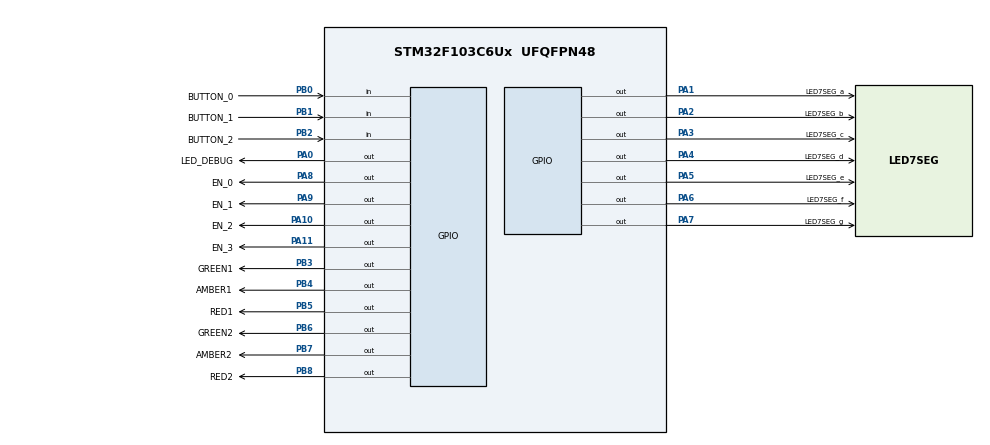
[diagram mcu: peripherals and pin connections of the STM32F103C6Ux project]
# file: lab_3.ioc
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Mcu.Family=STM32F1
Mcu.Name=STM32F103C6Ux
Mcu.Package=UFQFPN48
NVIC.PriorityGroup=NVIC_PRIORITYGROUP_4
NVIC.TIM2_IRQn=true\:0\:0\:false\:false\:true\:true\:true\:true
PA0-WKUP.GPIO_Label=LED_DEBUG
PA0-WKUP.Signal=GPIO_Output
PA1.GPIO_Label=LED7SEG_a
PA1.Signal=GPIO_Output
PA10.GPIO_Label=EN_2
PA10.Signal=GPIO_Output
PA11.GPIO_Label=EN_3
PA11.Signal=GPIO_Output
PA2.GPIO_Label=LED7SEG_b
PA2.Signal=GPIO_Output
PA3.GPIO_Label=LED7SEG_c
PA3.Signal=GPIO_Output
PA4.GPIO_Label=LED7SEG_d
PA4.Signal=GPIO_Output
PA5.GPIO_Label=LED7SEG_e
PA5.Signal=GPIO_Output
PA6.GPIO_Label=LED7SEG_f
PA6.Signal=GPIO_Output
PA7.GPIO_Label=LED7SEG_g
PA7.Signal=GPIO_Output
PA8.GPIO_Label=EN_0
PA8.Signal=GPIO_Output
PA9.GPIO_Label=EN_1
PA9.Signal=GPIO_Output
PB0.GPIO_Label=BUTTON_0
PB0.Signal=GPIO_Input
PB1.GPIO_Label=BUTTON_1
PB1.Signal=GPIO_Input
PB2.GPIO_Label=BUTTON_2
PB2.Signal=GPIO_Input
PB3.GPIO_Label=GREEN1
PB3.Signal=GPIO_Output
PB4.GPIO_Label=AMBER1
PB4.Signal=GPIO_Output
PB5.GPIO_Label=RED1
PB5.Signal=GPIO_Output
PB6.GPIO_Label=GREEN2
PB6.Signal=GPIO_Output
PB7.GPIO_Label=AMBER2
PB7.Signal=GPIO_Output
PB8.GPIO_Label=RED2
PB8.Signal=GPIO_Output
ProjectManager.HeapSize=0x200
ProjectManager.StackSize=0x400
ProjectManager.TargetToolchain=STM32CubeIDE
RCC.APB1Freq_Value=8000000
RCC.APB2Freq_Value=8000000
TIM2.Period=9
TIM2.Prescaler=7999
VP_SYS_VS_ND.Mode=No_Debug
VP_TIM2_VS_ClockSourceINT.Mode=Internal
board=custom

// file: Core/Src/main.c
/* USER CODE BEGIN Header */
/**
 ******************************************************************************
 * @file           : main.c
 * @brief          : Main program body
 ******************************************************************************
 * @attention
 *
 * Copyright (c) 2025 STMicroelectronics.
 * All rights reserved.
 *
 * This software is licensed under terms that can be found in the LICENSE file
 * in the root directory of this software component.
 * If no LICENSE file comes with this software, it is provided AS-IS.
 *
 ******************************************************************************
 */
/* USER CODE END Header */
#include "main.h"
#include "tim.h"
#include "gpio.h"

/* USER CODE BEGIN Includes */
#include "test.h"
#include "global.h"
#include "software_timer.h"
#include "button.h"
#include "led7seg.h"
#include "app.h"
/* USER CODE END Includes */

void SystemClock_Config(void);
/* USER CODE BEGIN PFP */
void system_init();
/* USER CODE END PFP */

int main(void)
{

	/* MCU Configuration--------------------------------------------------------*/

	/* Reset of all peripherals, Initializes the Flash interface and the Systick. */
	HAL_Init();

	/* Configure the system clock */
	SystemClock_Config();

	/* Initialize all configured peripherals */
	MX_GPIO_Init();
	MX_TIM2_Init();
	/* USER CODE BEGIN 2 */
	system_init();
	app_Set_timer();
	HAL_GPIO_WritePin(LED_DEBUG_GPIO_Port, LED_DEBUG_Pin, 1);
	/* USER CODE END 2 */

	/* Infinite loop */
	/* USER CODE BEGIN WHILE */
	while (1)
	{
		if (timer_flag) {
			timer_flag = 0;
			timer_run();
			button_scan();
			led7seg_scan();
		}

		app_Select_mode();
		/* USER CODE END WHILE */

	}
}

void SystemClock_Config(void)
{
	RCC_OscInitTypeDef RCC_OscInitStruct = {0};
	RCC_ClkInitTypeDef RCC_ClkInitStruct = {0};

	/** Initializes the RCC Oscillators according to the specified parameters
	 * in the RCC_OscInitTypeDef structure.
	 */
	RCC_OscInitStruct.OscillatorType = RCC_OSCILLATORTYPE_HSI;
	RCC_OscInitStruct.HSIState = RCC_HSI_ON;
	RCC_OscInitStruct.HSICalibrationValue = RCC_HSICALIBRATION_DEFAULT;
	RCC_OscInitStruct.PLL.PLLState = RCC_PLL_NONE;
	if (HAL_RCC_OscConfig(&RCC_OscInitStruct) != HAL_OK)
	{
		Error_Handler();
	}

	/** Initializes the CPU, AHB and APB buses clocks
	 */
	RCC_ClkInitStruct.ClockType = RCC_CLOCKTYPE_HCLK|RCC_CLOCKTYPE_SYSCLK
			|RCC_CLOCKTYPE_PCLK1|RCC_CLOCKTYPE_PCLK2;
	RCC_ClkInitStruct.SYSCLKSource = RCC_SYSCLKSOURCE_HSI;
	RCC_ClkInitStruct.AHBCLKDivider = RCC_SYSCLK_DIV1;
	RCC_ClkInitStruct.APB1CLKDivider = RCC_HCLK_DIV1;
	RCC_ClkInitStruct.APB2CLKDivider = RCC_HCLK_DIV1;

	if (HAL_RCC_ClockConfig(&RCC_ClkInitStruct, FLASH_LATENCY_0) != HAL_OK)
	{
		Error_Handler();
	}
}

/* USER CODE BEGIN 4 */
void system_init() {
	timer_init();
}
/* USER CODE END 4 */

void Error_Handler(void)
{
	__disable_irq();
	while (1)
	{
	}
}
